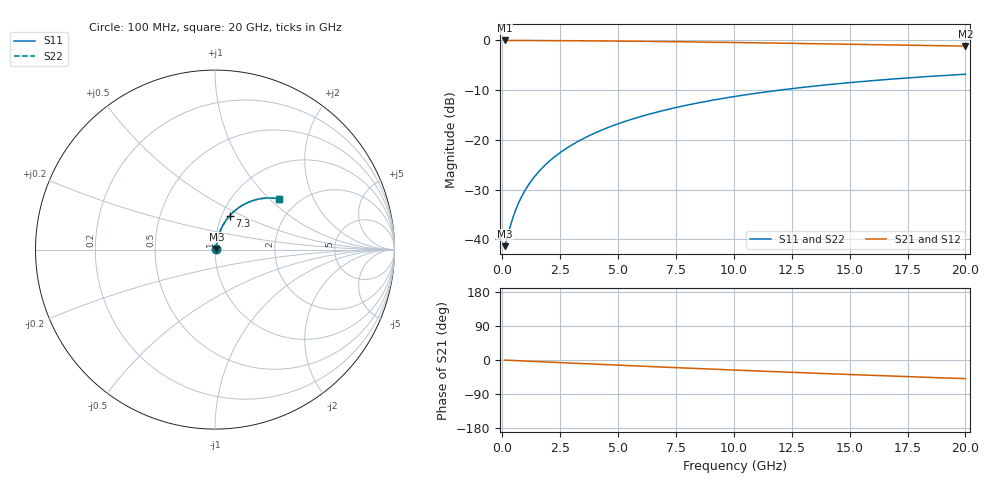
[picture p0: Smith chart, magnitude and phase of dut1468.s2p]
! Touchstone file exported from HFSS 2026.1.0
!  File:  C:/ffzhzh/LocalFiles/Ansys_Project_Files/temp_train_TMRDL_1468_1783167473_22436.aedt
!  Generated:  08:19:02 PM Jul  4, 2026
!  Design:  TMRDL
!  Project:  temp_train_TMRDL_1468_1783167473_22436
! Variables:
!  h_bsmrdl = 2um
!  h_ox = 20um
!  h_rdl = 5um
!  h_sub = 80um
!  h_tmrdl = 3.31um
!  h_tsv = 80um
!  h_via = 3um
!  l_bsmrdl = 300um
!  l_sub = 1155.53um
!  l_tmrdl = 755.53um
!  m_sub = 200um
!  pitch = 27.89um
!  r_tsv = 6um
!  s_tmrdl = 10um
!  w_bsmrdl = 18um
!  w_sub = 500um
!  w_tmrdl = 10.08um
!  x_tsv_center1 = 760.57um
!  x_tsv_center2 = 1078.57um
!  x_tsv_center3 = 1844.18um
!  x_tsv_center4 = 2162.18um
!  x_tsv_center5 = 2927.79um
!  x_tsv_center6 = 3245.79um
# GHz S MA R 50.000000
! Terminal data exported
! Port[1] = TM_RDL1_1_T1
! Port[2] = TM_RDL1_1_T2
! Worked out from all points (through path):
!   200 points, 100 MHz to 20 GHz, reference 50 ohm
!   highest |S21| = -0.07 dB at 100 MHz (marker M1); lowest = -1.2 dB at 20 GHz (marker M2)
!   group delay of S21, straight-line fit = 6.84 ps
!   lowest |S11| = -41.4 dB at 100 MHz (marker M3), VSWR 1.02, Z = 50.8 + j0.317 ohm
!   |S11| at or under -10 dB: start of sweep to 12.05 GHz
!   |S22| runs from -41.4 to -6.8 dB; largest |S21 - S12| = 3.8e-15
!   S11 on the Smith chart (normalised r, x): 100 MHz: 1.02, +0.01; 7.3 GHz: 1.09, +0.43; 20 GHz: 1.61, +1.14
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0.1  0.008554 21.4  0.992 -0.3  0.992 -0.3  0.008554 21.4
! Gamma 0 0 0 0
! Port Impedance 50 0 50 0
0.4  0.01497 55.3  0.9916 -1.1  0.9916 -1.1  0.01497 55.3
0.6  0.02037 63.4  0.9913 -1.7  0.9913 -1.7  0.02037 63.4
0.7  0.02314 65.9  0.9911 -2.0  0.9911 -2.0  0.02314 65.9
0.9  0.02874 69.4  0.9907 -2.5  0.9907 -2.5  0.02874 69.4
1.1  0.03438 71.5  0.9903 -3.1  0.9903 -3.1  0.03438 71.5
1.3  0.04005 73.0  0.99 -3.6  0.99 -3.6  0.04006 73.0
1.7  0.05146 74.6  0.9892 -4.7  0.9892 -4.7  0.05146 74.6
2.2  0.06577 75.4  0.9881 -6.1  0.9881 -6.1  0.06577 75.3
2.8  0.08292 75.3  0.9865 -7.7  0.9865 -7.7  0.08292 75.3
3.5  0.1028 74.5  0.9842 -9.6  0.9842 -9.6  0.1028 74.5
4.2  0.1225 73.3  0.9815 -11.5  0.9815 -11.5  0.1225 73.3
5  0.1446 71.8  0.9779 -13.6  0.9779 -13.6  0.1446 71.7
5.9  0.1689 69.8  0.9734 -16.0  0.9734 -16.0  0.1689 69.8
6.8  0.1926 67.8  0.9683 -18.4  0.9683 -18.4  0.1926 67.7
7.3  0.2055 66.6  0.9652 -19.7  0.9652 -19.7  0.2055 66.6
8.6  0.2379 63.5  0.9568 -23.0  0.9568 -23.0  0.2379 63.5
10.1  0.2734 60.0  0.9462 -26.7  0.9462 -26.7  0.2734 60.0
11.7  0.3089 56.3  0.9343 -30.6  0.9343 -30.6  0.3089 56.2
13.4  0.3439 52.4  0.9212 -34.6  0.9212 -34.6  0.3439 52.4
16.7  0.4042 45.2  0.8955 -42.1  0.8955 -42.1  0.4042 45.1
20  0.4545 38.4  0.8708 -49.2  0.8708 -49.2  0.4545 38.3
